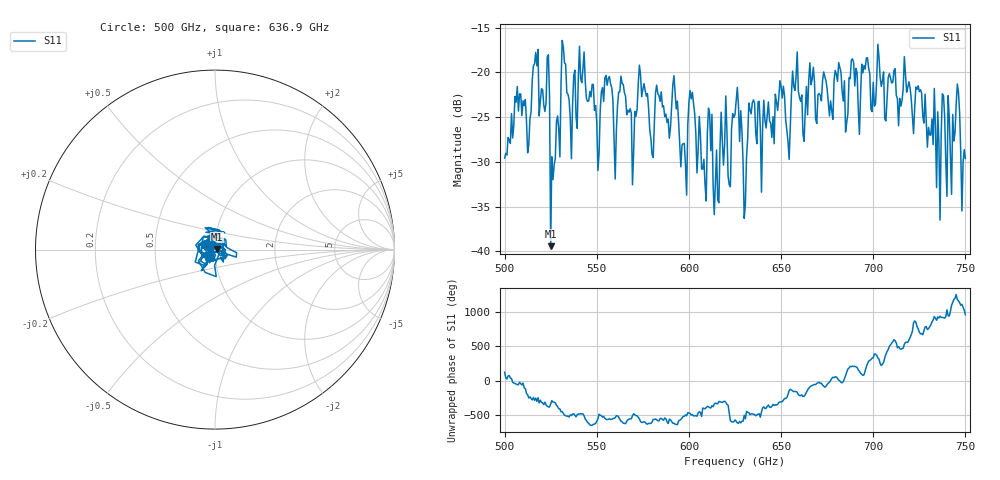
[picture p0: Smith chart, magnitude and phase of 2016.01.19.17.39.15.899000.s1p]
!Created with skrf (http://scikit-rf.org).
# GHz S RI R 50.0
!freq ReS11 ImS11
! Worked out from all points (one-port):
!   401 points, 500 GHz to 750 GHz, reference 50 ohm
!   lowest |S11| = -39.4 dB at 525 GHz (marker M1), VSWR 1.02, Z = 51 + j0.415 ohm
!   |S11| at or under -10 dB: start of sweep to end of sweep
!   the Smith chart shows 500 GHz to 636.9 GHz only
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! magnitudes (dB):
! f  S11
! 500 GHz  -29.6
! 506.9 GHz  -21.6
! 513.1 GHz  -28.0
! 516.9 GHz  -17.8
! 523.1 GHz  -18.3
! 525 GHz  -39.4
! 526.2 GHz  -32.0
! 531.2 GHz  -16.4
! 535.6 GHz  -25.2
! 541.9 GHz  -21.1
! 550 GHz  -25.6
! 562.5 GHz  -22.2
! 593.8 GHz  -23.2
! 597.5 GHz  -27.9
! 601.9 GHz  -22.2
! 608.1 GHz  -29.7
! 611.2 GHz  -24.6
! 615 GHz  -28.7
! 625 GHz  -24.7
! 630.6 GHz  -34.8
! 633.8 GHz  -24.6
! 653.8 GHz  -27.7
! 656.2 GHz  -19.9
! 687.5 GHz  -20.7
! 718.8 GHz  -21.7
! 735.6 GHz  -27.8
! 745.6 GHz  -21.3
! 750 GHz  -29.6
